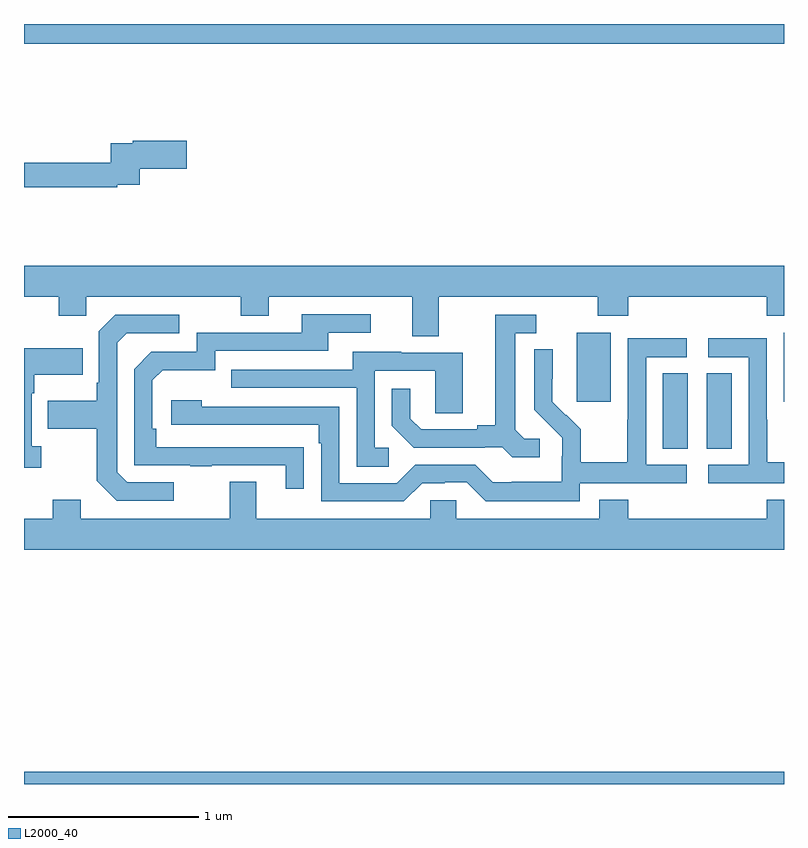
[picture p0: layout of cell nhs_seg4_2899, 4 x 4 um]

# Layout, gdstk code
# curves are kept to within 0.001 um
import gdstk
lib = gdstk.Library(unit=1e-6, precision=1e-09)
def R(c, l, rs):  # rectangles x0, y0, x1, y1
    for r in rs: c.add(gdstk.rectangle(r[:2], r[2:], *l))
def P(c, l, *ps):  # polygons
    for p in ps: c.add(gdstk.Polygon(p, *l))
L2000_40 = (2000, 40)

nhs_seg4_2899 = lib.new_cell('nhs_seg4_2899')
R(nhs_seg4_2899, L2000_40, [(263,816.9,267,816.964), (266.363,818.665,266.494,819.062), (266.594,818.665,266.725,819.062), (265.91,818.913,266.089,819.274), (266.999,818.913,267,819.274), (263,820.796,267,820.9)])
P(nhs_seg4_2899, L2000_40, [(263.492,820.053),(263.609,820.053),(263.609,820.139),(263.857,820.139),(263.857,820.286),(263.572,820.286),(263.572,820.273),(263.456,820.273),(263.456,820.169),(263,820.169),(263,820.041),(263.492,820.041)],
  [(265.183,819.464),(266.02,819.464),(266.02,819.365),(266.18,819.365),(266.18,819.464),(266.909,819.464),(266.909,819.365),(267,819.365),(267,819.628),(263,819.628),(263,819.464),(263.182,819.464),(263.182,819.365),(263.328,819.365),(263.328,819.464),(264.142,819.464),(264.142,819.365),(264.289,819.365),(264.289,819.464),(265.043,819.464),(265.043,819.256),(265.183,819.256)],
  [(264.473,818.672),(263.696,818.673),(263.696,818.77),(263.676,818.77),(263.676,819.024),(263.729,819.077),(264.006,819.077),(264.006,819.18),(264.601,819.18),(264.601,819.276),(264.826,819.276),(264.826,819.372),(264.461,819.372),(264.461,819.276),(263.91,819.276),(263.91,819.174),(263.67,819.174),(263.58,819.084),(263.58,818.577),(263.875,818.577),(263.875,818.572),(263.987,818.572),(263.987,818.577),(264.377,818.577),(264.377,818.454),(264.473,818.454)],
  [(263.788,818.487),(263.544,818.487),(263.49,818.541),(263.49,819.222),(263.541,819.273),(263.818,819.273),(263.818,819.369),(263.481,819.369),(263.394,819.282),(263.394,819.013),(263.382,819.013),(263.382,818.917),(263.125,818.917),(263.125,818.77),(263.382,818.77),(263.382,818.497),(263.487,818.391),(263.788,818.391)],
  [(265.714,818.718),(265.632,818.718),(265.585,818.765),(265.585,819.273),(265.696,819.273),(265.696,819.369),(265.481,819.369),(265.481,818.789),(265.385,818.789),(265.385,818.766),(265.09,818.766),(265.033,818.823),(265.033,818.98),(264.936,818.98),(264.936,818.786),(265.052,818.67),(265.424,818.67),(265.424,818.673),(265.518,818.673),(265.57,818.621),(265.714,818.621)],
  [(265.926,818.484),(266.488,818.484),(266.488,818.58),(266.274,818.58),(266.274,819.147),(266.488,819.147),(266.488,819.246),(266.178,819.246),(266.178,818.816),(266.176,818.816),(266.176,818.593),(265.931,818.593),(265.931,818.767),(265.854,818.844),(265.851,818.841),(265.781,818.912),(265.782,819.188),(265.686,819.188),(265.686,818.87),(265.832,818.722),(265.832,818.625),(265.83,818.625),(265.83,818.491),(265.567,818.491),(265.567,818.487),(265.467,818.487),(265.374,818.58),(265.059,818.58),(264.963,818.484),(264.66,818.484),(264.66,818.886),(263.936,818.886),(263.936,818.92),(263.775,818.92),(263.775,818.79),(264.551,818.79),(264.551,818.693),(264.564,818.693),(264.564,818.388),(264.999,818.388),(265.095,818.484),(265.214,818.484),(265.214,818.487),(265.329,818.487),(265.429,818.387),(265.926,818.387)],
  [(267,818.593),(266.913,818.593),(266.913,818.816),(266.91,818.816),(266.91,819.246),(266.601,819.246),(266.601,819.147),(266.814,819.147),(266.814,818.58),(266.601,818.58),(266.601,818.484),(267,818.484)],
  [(263.092,818.678),(263.04,818.678),(263.04,818.957),(263.053,818.957),(263.053,819.053),(263.309,819.053),(263.309,819.193),(263,819.193),(263,818.565),(263.092,818.565)],
  [(264.919,818.67),(264.846,818.67),(264.846,819.075),(265.164,819.075),(265.164,818.851),(265.309,818.851),(265.309,819.171),(264.985,819.171),(264.985,819.175),(264.731,819.175),(264.731,819.081),(264.091,819.081),(264.091,818.985),(264.75,818.985),(264.75,818.569),(264.919,818.569)],
  [(267,818.395),(266.909,818.395),(266.909,818.296),(266.18,818.296),(266.18,818.395),(266.027,818.395),(266.027,818.296),(265.275,818.296),(265.275,818.394),(265.137,818.394),(265.137,818.296),(264.223,818.296),(264.223,818.491),(264.083,818.491),(264.083,818.296),(263.299,818.296),(263.299,818.395),(263.152,818.395),(263.152,818.296),(263,818.296),(263,818.132),(267,818.132)])

lib.write_gds('nhs_seg4_2899.gds')
